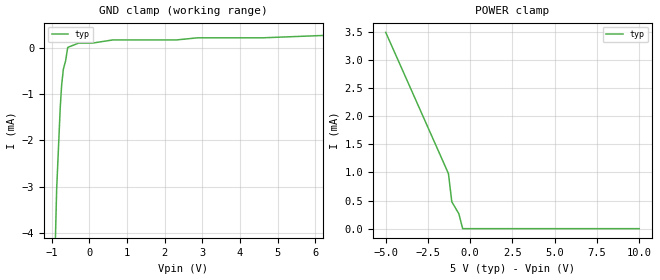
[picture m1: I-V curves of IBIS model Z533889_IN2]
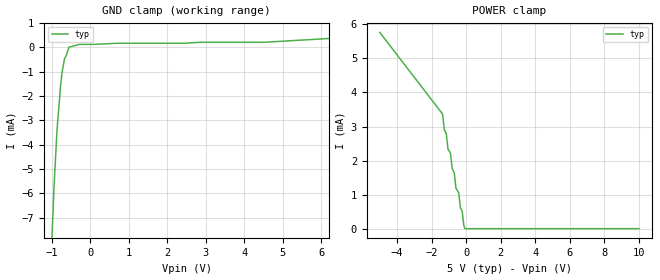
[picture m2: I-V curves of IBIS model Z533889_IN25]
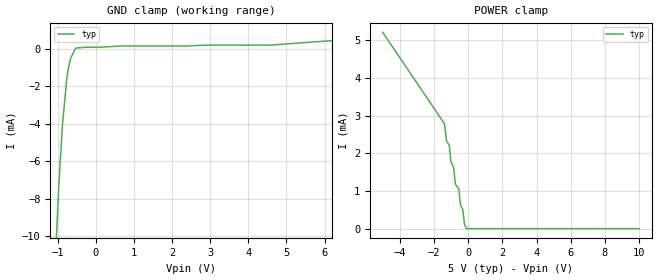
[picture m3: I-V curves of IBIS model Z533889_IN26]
| YOU ARE ONLY AUTHORIZED TO USE THIS SOFTWARE
| ACCORDING TO LICENSOR'S LICENSE RESTRICTIONS.
[IBIS Ver] 3.1
[File Name] mc10e142fn_pecl.ibs
[File Rev] 2.0
[Source] Measured and created by ICX Technology
[Date] Friday 7/14/00 9:07:49 AM
[Copyright]
| (C) COPYRIGHT 1993-2000
| MENTOR GRAPHICS CORPORATION
| ICX STANDARD LIBRARY, ICX PROJECT MODELING,
| ICX CUSTOM MODELING, ICX VENDOR MODEL
| ALL RIGHTS RESERVED.
| THE FOLLOWING ARE TRADEMARKS OR SERVICE MARKS OF
| MENTOR GRAPHICS CORPORATION:ICX (R), ICX STANDARD
| LIBRARY(R), ICX PROJECT MODELING(R), ICX CUSTOM
| MODELING(R), qualityIBIS(TM), MODELVIEWER(TM),
| AND MODELEDITOR(TM)
| ALL COPIES OF SOFTWARE, INCLUDING BUT NOT LIMITED TO
| ANY MODIFICATIONS, ENHANCEMENTS OR DERIVATIVE WORKS,
| MUST CONTAIN ALL MENTOR GRAPHICS CORPORATION'S
| NOTICES AND LEGENDS, INCLUDING THOSE EMBEDDED IN
| SOFTWARE AND THOSE AFFIXED TO SOFTWARE MEDIUM
| AND CONTAINER, AS RECEIVED FROM MENTOR GRAPHICS
| CORPORATION.
|  ZAP Model Builder 2.7
[Component] MC10E142FN_PECL
[Manufacturer] OnSemiconductor
[Package]
| variable   typ   min   max
R_pkg  .083ohms NA NA
L_pkg  4.299nH NA NA
C_pkg  1.045pF NA NA
[Pin] signal_name  model_name  R_pin  L_pin C_pin
1 VEE GND .08 3.94n .925p
2 S-IN Z533889_IN2 .082 4.14n .995p
3 D0 Z533889_IN3 .084 4.354n 1.065p
4 D1 Z533889_IN3 .086 4.583n 1.135p
5 D2 Z533889_IN3 .086 4.583n 1.135p
6 D3 Z533889_IN3 .084 4.354n 1.065p
7 D4 Z533889_IN3 .082 4.14n .995p
8 VCCO POWER .08 3.94n .925p
9 Q0 Z533889_OUT15 .082 4.14n .995p
10 Q1 Z533889_OUT15 .084 4.354n 1.065p
11 Q2 Z533889_OUT15 .086 4.583n 1.135p
12 Q3 Z533889_OUT15 .086 4.583n 1.135p
13 Q4 Z533889_OUT15 .084 4.354n 1.065p
14 VCCO POWER .082 4.14n .995p
15 Q5 Z533889_OUT15 .08 3.94n .925p
16 VCC POWER .082 4.14n .995p
17 Q6 Z533889_OUT15 .084 4.354n 1.065p
18 Q7 Z533889_OUT15 .086 4.583n 1.135p
19 Q8 Z533889_OUT15 .086 4.583n 1.135p
20 VCCO POWER .084 4.354n 1.065p
21 D5 Z533889_IN3 .082 4.14n .995p
22 D6 Z533889_IN3 .08 3.94n .925p
23 D7 Z533889_IN3 .082 4.14n .995p
24 D8 Z533889_IN3 .084 4.354n 1.065p
25 SEL Z533889_IN25 .086 4.583n 1.135p
26 MR Z533889_IN26 .086 4.583n 1.135p
27 CLK1 Z533889_IN27 .084 4.354n 1.065p
28 CLK2 Z533889_IN27 .082 4.14n .995p
| Models and submodels in the file (6): Z533889_IN2 (Input_ECL), Z533889_IN25 (Input_ECL), Z533889_IN26 (Input_ECL), Z533889_IN27 (Input_ECL), Z533889_IN3 (Input_ECL), Z533889_OUT15 (Output_ECL)
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| (C) COPYRIGHT 1993-2000
| MENTOR GRAPHICS CORPORATION
| ICX STANDARD LIBRARY, ICX PROJECT MODELING,
| ICX CUSTOM MODELING, ICX VENDOR MODEL
| ALL RIGHTS RESERVED.
| THE FOLLOWING ARE TRADEMARKS OR SERVICE MARKS OF
| MENTOR GRAPHICS CORPORATION:ICX (R), ICX STANDARD
| LIBRARY(R), ICX PROJECT MODELING(R), ICX CUSTOM
| MODELING(R), qualityIBIS(TM), MODELVIEWER(TM),
| AND MODELEDITOR(TM)
| ALL COPIES OF SOFTWARE, INCLUDING BUT NOT LIMITED TO
| ANY MODIFICATIONS, ENHANCEMENTS OR DERIVATIVE WORKS,
| MUST CONTAIN ALL MENTOR GRAPHICS CORPORATION'S
| NOTICES AND LEGENDS, INCLUDING THOSE EMBEDDED IN
| SOFTWARE AND THOSE AFFIXED TO SOFTWARE MEDIUM
| AND CONTAINER, AS RECEIVED FROM MENTOR GRAPHICS
| CORPORATION.
| Model Application Version 1.89 2/18/99.
[Model] Z533889_IN2
Model_type Input_ECL
Vinl = 3.520V
Vinh = 3.830V
C_comp 4.000pF NA NA
| variable typ   min   max
[Voltage Range] 5.000V NA NA
[GND Clamp Reference] 0.000V NA NA
[POWER Clamp Reference] 5.000V NA NA
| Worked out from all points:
|   GND clamp passes 1 mA (typ) near -0.75 V on its own axis
[GND Clamp]
-5V       -276.4mA   NA         NA
-1.039V   -8.657mA   NA         NA
-864.2mV  -3.044mA   NA         NA
-770.2mV  -1.301mA   NA         NA
-731.8mV  -801.4uA   NA         NA
-687.1mV  -467uA     NA         NA
-627.7mV  -287.6uA   NA         NA
-571.1mV  5.18uA     NA         NA
-285.5mV  95.29uA    NA         NA
625.6mV   165.6uA    NA         NA
4.619V    211.7uA    NA         NA
10V       381.4uA    NA         NA
[POWER Clamp]
-5V       3.493mA    NA         NA
-1.289V   980.6uA    NA         NA
-1.089V   478.6uA    NA         NA
-670mV    264.3uA    NA         NA
-446.7mV  0A         NA         NA
10V       0A         NA         NA
| (C) COPYRIGHT 1993-2000
| MENTOR GRAPHICS CORPORATION
| ICX STANDARD LIBRARY, ICX PROJECT MODELING,
| ICX CUSTOM MODELING, ICX VENDOR MODEL
| ALL RIGHTS RESERVED.
| THE FOLLOWING ARE TRADEMARKS OR SERVICE MARKS OF
| MENTOR GRAPHICS CORPORATION:ICX (R), ICX STANDARD
| LIBRARY(R), ICX PROJECT MODELING(R), ICX CUSTOM
| MODELING(R), qualityIBIS(TM), MODELVIEWER(TM),
| AND MODELEDITOR(TM)
| ALL COPIES OF SOFTWARE, INCLUDING BUT NOT LIMITED TO
| ANY MODIFICATIONS, ENHANCEMENTS OR DERIVATIVE WORKS,
| MUST CONTAIN ALL MENTOR GRAPHICS CORPORATION'S
| NOTICES AND LEGENDS, INCLUDING THOSE EMBEDDED IN
| SOFTWARE AND THOSE AFFIXED TO SOFTWARE MEDIUM
| AND CONTAINER, AS RECEIVED FROM MENTOR GRAPHICS
| CORPORATION.
| Model Application Version 1.89 2/18/99.
[Model] Z533889_IN25
Model_type Input_ECL
Vinl = 3.520V
Vinh = 3.830V
C_comp 4.000pF NA NA
| variable typ   min   max
[Voltage Range] 5.000V NA NA
[GND Clamp Reference] 0.000V NA NA
[POWER Clamp Reference] 5.000V NA NA
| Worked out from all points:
|   GND clamp passes 1 mA (typ) near -0.73 V on its own axis
|   POWER clamp passes 1 mA (typ) near -0.42 V on its own axis
[GND Clamp]
-5V       -363.3mA   NA         NA
-1.037V   -9.51mA    NA         NA
-942.5mV  -5.812mA   NA         NA
-864mV    -3.43mA    NA         NA
-769.6mV  -1.574mA   NA         NA
-731mV    -1.026mA   NA         NA
-666.4mV  -457.7uA   NA         NA
-551.6mV  3.006uA    NA         NA
-275.8mV  117.7uA    NA         NA
684.1mV   162.4uA    NA         NA
4.519V    203.8uA    NA         NA
10V       710.5uA    NA         NA
[POWER Clamp]
-5V       5.765mA    NA         NA
-1.363V   3.366mA    NA         NA
-1.266V   2.914mA    NA         NA
-1.048V   2.331mA    NA         NA
-908mV    2.222mA    NA         NA
-810mV    1.772mA    NA         NA
-688mV    1.642mA    NA         NA
-591mV    1.194mA    NA         NA
-430mV    1.053mA    NA         NA
-330mV    613.9uA    NA         NA
-65.5mV   0A         NA         NA
10V       0A         NA         NA
| (C) COPYRIGHT 1993-2000
| MENTOR GRAPHICS CORPORATION
| ICX STANDARD LIBRARY, ICX PROJECT MODELING,
| ICX CUSTOM MODELING, ICX VENDOR MODEL
| ALL RIGHTS RESERVED.
| THE FOLLOWING ARE TRADEMARKS OR SERVICE MARKS OF
| MENTOR GRAPHICS CORPORATION:ICX (R), ICX STANDARD
| LIBRARY(R), ICX PROJECT MODELING(R), ICX CUSTOM
| MODELING(R), qualityIBIS(TM), MODELVIEWER(TM),
| AND MODELEDITOR(TM)
| ALL COPIES OF SOFTWARE, INCLUDING BUT NOT LIMITED TO
| ANY MODIFICATIONS, ENHANCEMENTS OR DERIVATIVE WORKS,
| MUST CONTAIN ALL MENTOR GRAPHICS CORPORATION'S
| NOTICES AND LEGENDS, INCLUDING THOSE EMBEDDED IN
| SOFTWARE AND THOSE AFFIXED TO SOFTWARE MEDIUM
| AND CONTAINER, AS RECEIVED FROM MENTOR GRAPHICS
| CORPORATION.
| Model Application Version 1.89 2/18/99.
[Model] Z533889_IN26
Model_type Input_ECL
Vinl = 3.520V
Vinh = 3.830V
C_comp 4.000pF NA NA
| variable typ   min   max
[Voltage Range] 5.000V NA NA
[GND Clamp Reference] 0.000V NA NA
[POWER Clamp Reference] 5.000V NA NA
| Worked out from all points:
|   GND clamp passes 1 mA (typ) near -0.72 V on its own axis
|   POWER clamp passes 1 mA (typ) near -0.54 V on its own axis
[GND Clamp]
-5V       -358mA     NA         NA
-1.093V   -12.46mA   NA         NA
-981.3mV  -7.497mA   NA         NA
-883.5mV  -4.143mA   NA         NA
-768.5mV  -1.615mA   NA         NA
-730.4mV  -1.075mA   NA         NA
-666mV    -492.5uA   NA         NA
-532.1mV  47.94uA    NA         NA
664.7mV   161.1uA    NA         NA
4.597V    208.5uA    NA         NA
10V       1.023mA    NA         NA
[POWER Clamp]
-5V       5.205mA    NA         NA
-1.383V   2.778mA    NA         NA
-1.267V   2.322mA    NA         NA
-1.106V   2.212mA    NA         NA
-1.01V    1.782mA    NA         NA
-849mV    1.62mA     NA         NA
-747mV    1.184mA    NA         NA
-547mV    1.05mA     NA         NA
-450mV    628.4uA    NA         NA
-311mV    504.1uA    NA         NA
-107.5mV  0A         NA         NA
10V       0A         NA         NA
